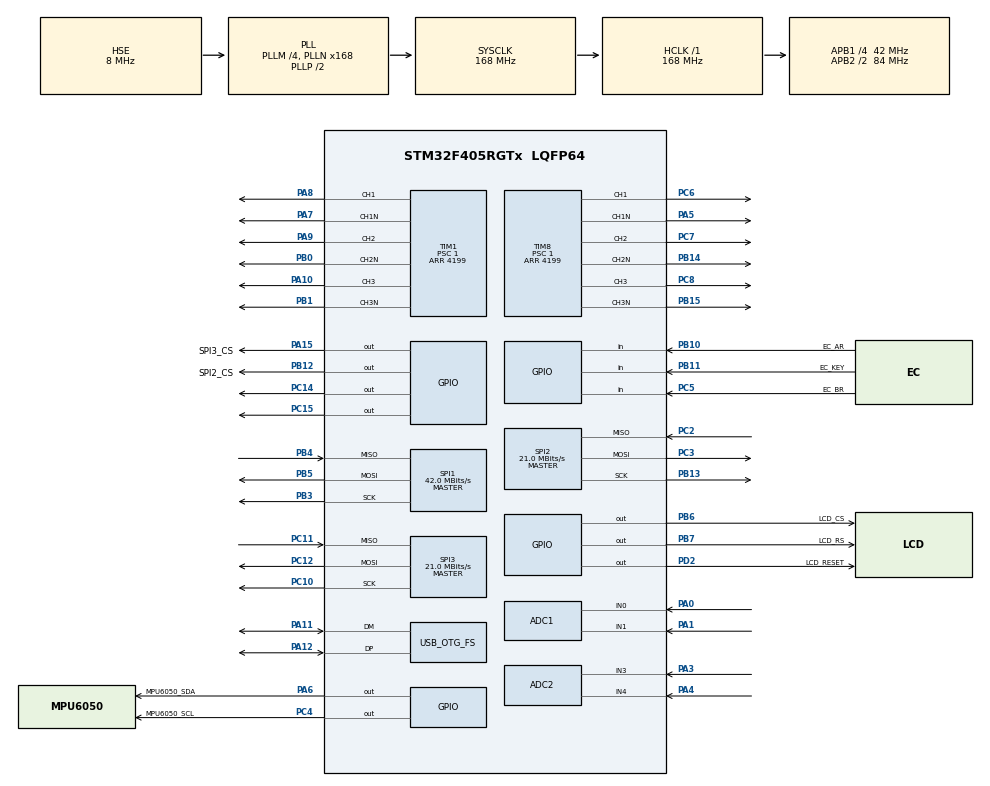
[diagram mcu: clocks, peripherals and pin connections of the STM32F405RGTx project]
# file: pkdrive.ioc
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ADC1.Channel-0\#ChannelRegularConversion=ADC_CHANNEL_0
ADC1.Channel-1\#ChannelInjectedConversion=ADC_CHANNEL_0
ADC1.Channel-2\#ChannelInjectedConversion=ADC_CHANNEL_1
ADC1.ExternalTrigInjecConv=ADC_EXTERNALTRIGINJECCONV_T1_CC4
ADC1.InjNumberOfConversion=2
ADC1.InjectedOffset-1\#ChannelInjectedConversion=0
ADC1.InjectedOffset-2\#ChannelInjectedConversion=0
ADC1.InjectedRank-1\#ChannelInjectedConversion=1
ADC1.InjectedRank-2\#ChannelInjectedConversion=2
ADC1.NbrOfConversionFlag=1
ADC1.Rank-0\#ChannelRegularConversion=1
ADC1.SamplingTime-0\#ChannelRegularConversion=ADC_SAMPLETIME_15CYCLES
ADC1.SamplingTime-1\#ChannelInjectedConversion=ADC_SAMPLETIME_15CYCLES
ADC1.SamplingTime-2\#ChannelInjectedConversion=ADC_SAMPLETIME_15CYCLES
ADC1.ScanConvMode=ENABLE
ADC1.master=1
ADC2.Channel-0\#ChannelRegularConversion=ADC_CHANNEL_3
ADC2.Channel-1\#ChannelInjectedConversion=ADC_CHANNEL_3
ADC2.Channel-2\#ChannelInjectedConversion=ADC_CHANNEL_4
ADC2.ExternalTrigInjecConv=ADC_EXTERNALTRIGINJECCONV_T8_CC4
ADC2.InjNumberOfConversion=2
ADC2.InjectedOffset-1\#ChannelInjectedConversion=0
ADC2.InjectedOffset-2\#ChannelInjectedConversion=0
ADC2.InjectedRank-1\#ChannelInjectedConversion=1
ADC2.InjectedRank-2\#ChannelInjectedConversion=2
ADC2.NbrOfConversionFlag=1
ADC2.Rank-0\#ChannelRegularConversion=1
ADC2.SamplingTime-0\#ChannelRegularConversion=ADC_SAMPLETIME_3CYCLES
ADC2.SamplingTime-1\#ChannelInjectedConversion=ADC_SAMPLETIME_15CYCLES
ADC2.SamplingTime-2\#ChannelInjectedConversion=ADC_SAMPLETIME_15CYCLES
Dma.Request0=SPI3_RX
Dma.Request1=SPI1_TX
Dma.SPI1_TX.1.Direction=DMA_MEMORY_TO_PERIPH
Dma.SPI1_TX.1.FIFOMode=DMA_FIFOMODE_DISABLE
Dma.SPI1_TX.1.Instance=DMA2_Stream3
Dma.SPI1_TX.1.MemDataAlignment=DMA_MDATAALIGN_BYTE
Dma.SPI1_TX.1.MemInc=DMA_MINC_ENABLE
Dma.SPI1_TX.1.Mode=DMA_NORMAL
Dma.SPI1_TX.1.PeriphDataAlignment=DMA_PDATAALIGN_BYTE
Dma.SPI1_TX.1.PeriphInc=DMA_PINC_DISABLE
Dma.SPI1_TX.1.Priority=DMA_PRIORITY_LOW
Dma.SPI3_RX.0.Direction=DMA_PERIPH_TO_MEMORY
Dma.SPI3_RX.0.FIFOMode=DMA_FIFOMODE_DISABLE
Dma.SPI3_RX.0.Instance=DMA1_Stream0
Dma.SPI3_RX.0.MemDataAlignment=DMA_MDATAALIGN_HALFWORD
Dma.SPI3_RX.0.MemInc=DMA_MINC_ENABLE
Dma.SPI3_RX.0.Mode=DMA_NORMAL
Dma.SPI3_RX.0.PeriphDataAlignment=DMA_PDATAALIGN_HALFWORD
Dma.SPI3_RX.0.PeriphInc=DMA_PINC_DISABLE
Dma.SPI3_RX.0.Priority=DMA_PRIORITY_LOW
FREERTOS.Queues01=Queue_ADC,1,uint32_t,0,Dynamic,NULL,NULL
FREERTOS.Tasks01=Task_comm,24,512,StartDefaultTask,Default,NULL,Static,defaultTaskBuffer,defaultTaskControlBlock;Task_foc,24,512,StartTask02,Default,NULL,Static,Task_focBuffer,Task_focControlBlock;Task_lcd,24,512,StartTask03,Default,NULL,Static,Task_ledBuffer,Task_ledControlBlock
FREERTOS.configENABLE_FPU=1
FREERTOS.configMINIMAL_STACK_SIZE=64
Mcu.Family=STM32F4
Mcu.Name=STM32F405RGTx
Mcu.Package=LQFP64
NVIC.ADC_IRQn=true\:5\:0\:false\:false\:true\:true\:true\:true\:true
NVIC.DMA1_Stream0_IRQn=true\:5\:0\:false\:false\:true\:true\:false\:true\:true
NVIC.DMA2_Stream3_IRQn=true\:5\:0\:false\:false\:true\:true\:false\:true\:true
NVIC.OTG_FS_IRQn=true\:5\:0\:false\:false\:true\:true\:false\:true\:true
NVIC.PriorityGroup=NVIC_PRIORITYGROUP_4
NVIC.TIM1_UP_TIM10_IRQn=true\:5\:0\:false\:false\:true\:true\:true\:true\:true
NVIC.TIM4_IRQn=true\:15\:0\:false\:false\:true\:false\:false\:true\:true
NVIC.TIM8_UP_TIM13_IRQn=true\:5\:0\:false\:false\:true\:true\:true\:true\:true
NVIC.TimeBase=TIM4_IRQn
NVIC.TimeBaseIP=TIM4
PA0-WKUP.Signal=ADCx_IN0
PA1.Signal=ADCx_IN1
PA10.Signal=S_TIM1_CH3
PA11.Mode=Device_Only
PA11.Signal=USB_OTG_FS_DM
PA12.Mode=Device_Only
PA12.Signal=USB_OTG_FS_DP
PA13.Mode=Serial_Wire
PA13.Signal=SYS_JTMS-SWDIO
PA14.Mode=Serial_Wire
PA14.Signal=SYS_JTCK-SWCLK
PA15.GPIO_Label=SPI3_CS
PA15.Signal=GPIO_Output
PA3.Signal=ADCx_IN3
PA4.Signal=ADCx_IN4
PA5.Mode=PWM Generation1 CH1 CH1N
PA5.Signal=TIM8_CH1N
PA6.GPIO_Label=MPU6050_SDA
PA6.GPIO_PuPd=GPIO_PULLUP
PA6.PinState=GPIO_PIN_SET
PA6.Signal=GPIO_Output
PA7.Mode=PWM Generation1 CH1 CH1N
PA7.Signal=TIM1_CH1N
PA8.Signal=S_TIM1_CH1
PA9.Signal=S_TIM1_CH2
PB0.Mode=PWM Generation2 CH2 CH2N
PB0.Signal=TIM1_CH2N
PB1.Mode=PWM Generation3 CH3 CH3N
PB1.Signal=TIM1_CH3N
PB10.GPIO_Label=EC_AR
PB10.Signal=GPIO_Input
PB11.GPIO_Label=EC_KEY
PB11.GPIO_PuPd=GPIO_PULLUP
PB11.Signal=GPIO_Input
PB12.GPIO_Label=SPI2_CS
PB12.Signal=GPIO_Output
PB13.Mode=Full_Duplex_Master
PB13.Signal=SPI2_SCK
PB14.Mode=PWM Generation2 CH2 CH2N
PB14.Signal=TIM8_CH2N
PB15.Mode=PWM Generation3 CH3 CH3N
PB15.Signal=TIM8_CH3N
PB3.Mode=Full_Duplex_Master
PB3.Signal=SPI1_SCK
PB4.Mode=Full_Duplex_Master
PB4.Signal=SPI1_MISO
PB5.Mode=Full_Duplex_Master
PB5.Signal=SPI1_MOSI
PB6.GPIO_Label=LCD_CS
PB6.GPIO_PuPd=GPIO_PULLUP
PB6.Signal=GPIO_Output
PB7.GPIO_Label=LCD_RS
PB7.Signal=GPIO_Output
PC10.Mode=Full_Duplex_Master
PC10.Signal=SPI3_SCK
PC11.Mode=Full_Duplex_Master
PC11.Signal=SPI3_MISO
PC12.Mode=Full_Duplex_Master
PC12.Signal=SPI3_MOSI
PC14-OSC32_IN.Signal=GPIO_Output
PC15-OSC32_OUT.Signal=GPIO_Output
PC2.Mode=Full_Duplex_Master
PC2.Signal=SPI2_MISO
PC3.Mode=Full_Duplex_Master
PC3.Signal=SPI2_MOSI
PC4.GPIO_Label=MPU6050_SCL
PC4.GPIO_PuPd=GPIO_PULLUP
PC4.PinState=GPIO_PIN_SET
PC4.Signal=GPIO_Output
PC5.GPIO_Label=EC_BR
PC5.Signal=GPIO_Input
PC6.Signal=S_TIM8_CH1
PC7.Signal=S_TIM8_CH2
PC8.Signal=S_TIM8_CH3
PD2.GPIO_Label=LCD_RESET
PD2.Signal=GPIO_Output
PH0-OSC_IN.Mode=HSE-External-Oscillator
PH0-OSC_IN.Signal=RCC_OSC_IN
PH1-OSC_OUT.Mode=HSE-External-Oscillator
PH1-OSC_OUT.Signal=RCC_OSC_OUT
ProjectManager.HeapSize=0x400
ProjectManager.StackSize=0x400
ProjectManager.TargetToolchain=CMake
RCC.48MHZClocksFreq_Value=48000000
RCC.AHBFreq_Value=168000000
RCC.APB1CLKDivider=RCC_HCLK_DIV4
RCC.APB1Freq_Value=42000000
RCC.APB1TimFreq_Value=84000000
RCC.APB2CLKDivider=RCC_HCLK_DIV2
RCC.APB2Freq_Value=84000000
RCC.APB2TimFreq_Value=168000000
RCC.CortexFreq_Value=168000000
RCC.HCLKFreq_Value=168000000
RCC.HSE_VALUE=8000000
RCC.HSI_VALUE=16000000
RCC.LSE_VALUE=32768
RCC.PLLM=4
RCC.PLLN=168
RCC.PLLQ=7
RCC.SYSCLKFreq_VALUE=168000000
RCC.SYSCLKSource=RCC_SYSCLKSOURCE_PLLCLK
RCC.VCOOutputFreq_Value=336000000
SH.ADCx_IN0.0=ADC1_IN0,IN0
SH.ADCx_IN1.0=ADC1_IN1,IN1
SH.ADCx_IN3.0=ADC2_IN3,IN3
SH.ADCx_IN4.0=ADC2_IN4,IN4
SH.S_TIM1_CH1.0=TIM1_CH1,PWM Generation1 CH1 CH1N
SH.S_TIM1_CH2.0=TIM1_CH2,PWM Generation2 CH2 CH2N
SH.S_TIM1_CH3.0=TIM1_CH3,PWM Generation3 CH3 CH3N
SH.S_TIM8_CH1.0=TIM8_CH1,PWM Generation1 CH1 CH1N
SH.S_TIM8_CH2.0=TIM8_CH2,PWM Generation2 CH2 CH2N
SH.S_TIM8_CH3.0=TIM8_CH3,PWM Generation3 CH3 CH3N
SPI1.CalculateBaudRate=42.0 MBits/s
SPI1.DataSize=SPI_DATASIZE_8BIT
SPI1.Direction=SPI_DIRECTION_2LINES
SPI1.Mode=SPI_MODE_MASTER
SPI1.VirtualType=VM_MASTER
SPI2.BaudRatePrescaler=SPI_BAUDRATEPRESCALER_2
SPI2.CLKPhase=SPI_PHASE_2EDGE
SPI2.CLKPolarity=SPI_POLARITY_HIGH
SPI2.CalculateBaudRate=21.0 MBits/s
SPI2.DataSize=SPI_DATASIZE_16BIT
SPI2.Direction=SPI_DIRECTION_2LINES
SPI2.Mode=SPI_MODE_MASTER
SPI2.VirtualType=VM_MASTER
SPI3.BaudRatePrescaler=SPI_BAUDRATEPRESCALER_2
SPI3.CLKPhase=SPI_PHASE_2EDGE
SPI3.CLKPolarity=SPI_POLARITY_HIGH
SPI3.CalculateBaudRate=21.0 MBits/s
SPI3.DataSize=SPI_DATASIZE_16BIT
SPI3.Direction=SPI_DIRECTION_2LINES
SPI3.Mode=SPI_MODE_MASTER
SPI3.VirtualType=VM_MASTER
TIM1.AutoReloadPreload=TIM_AUTORELOAD_PRELOAD_ENABLE
TIM1.Channel-PWM\ Generation1\ CH1\ CH1N=TIM_CHANNEL_1
TIM1.Channel-PWM\ Generation2\ CH2\ CH2N=TIM_CHANNEL_2
TIM1.Channel-PWM\ Generation3\ CH3\ CH3N=TIM_CHANNEL_3
TIM1.Channel-PWM\ Generation4\ No\ Output=TIM_CHANNEL_4
TIM1.CounterMode=TIM_COUNTERMODE_CENTERALIGNED1
TIM1.DeadTime=65
TIM1.Period=4199
TIM1.Prescaler=1
TIM1.Pulse-PWM\ Generation4\ No\ Output=4099
TIM10.AutoReloadPreload=TIM_AUTORELOAD_PRELOAD_ENABLE
TIM10.Period=199
TIM10.Prescaler=8399
TIM8.AutoReloadPreload=TIM_AUTORELOAD_PRELOAD_ENABLE
TIM8.Channel-PWM\ Generation1\ CH1\ CH1N=TIM_CHANNEL_1
TIM8.Channel-PWM\ Generation2\ CH2\ CH2N=TIM_CHANNEL_2
TIM8.Channel-PWM\ Generation3\ CH3\ CH3N=TIM_CHANNEL_3
TIM8.Channel-PWM\ Generation4\ No\ Output=TIM_CHANNEL_4
TIM8.CounterMode=TIM_COUNTERMODE_CENTERALIGNED1
TIM8.DeadTime=65
TIM8.Period=4199
TIM8.Prescaler=1
TIM8.Pulse-PWM\ Generation4\ No\ Output=4099
USB_DEVICE.CLASS_NAME_FS=CDC
USB_DEVICE.VirtualMode-CDC_FS=Cdc
USB_DEVICE.VirtualModeFS=Cdc_FS
USB_OTG_FS.VirtualMode=Device_Only
VP_FREERTOS_VS_CMSIS_V2.Mode=CMSIS_V2
VP_SYS_VS_tim4.Mode=TIM4
VP_TIM10_VS_ClockSourceINT.Mode=Enable_Timer
VP_TIM1_VS_ClockSourceINT.Mode=Internal
VP_TIM1_VS_no_output4.Mode=PWM Generation4 No Output
VP_TIM8_VS_ClockSourceINT.Mode=Internal
VP_TIM8_VS_no_output4.Mode=PWM Generation4 No Output
VP_USB_DEVICE_VS_USB_DEVICE_CDC_FS.Mode=CDC_FS
board=custom

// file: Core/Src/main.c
/* USER CODE BEGIN Header */
/**
 ******************************************************************************
 * @file           : main.c
 * @brief          : Main program body
 ******************************************************************************
 * @attention
 *
 * Copyright (c) 2025 STMicroelectronics.
 * All rights reserved.
 *
 * This software is licensed under terms that can be found in the LICENSE file
 * in the root directory of this software component.
 * If no LICENSE file comes with this software, it is provided AS-IS.
 *
 ******************************************************************************
 */
/* USER CODE END Header */
#include "main.h"
#include "cmsis_os.h"
#include "adc.h"
#include "dma.h"
#include "spi.h"
#include "tim.h"
#include "usb_device.h"
#include "gpio.h"

/* USER CODE BEGIN Includes */
#include "SEGGER_RTT.h"
#include "SEGGER_SYSVIEW.h"

/* USER CODE END Includes */

void SystemClock_Config(void);
void MX_FREERTOS_Init(void);
/* USER CODE BEGIN PFP */
void DWT_Init(void) {
  // 启用DWT计时器，首先要启用TPIU和ITM
  if (!(CoreDebug->DEMCR & CoreDebug_DEMCR_TRCENA_Msk)) {
    CoreDebug->DEMCR |= CoreDebug_DEMCR_TRCENA_Msk; // 启用追踪功能
  }

  if (!(DWT->CTRL & DWT_CTRL_CYCCNTENA_Msk)) {
    DWT->CTRL |= DWT_CTRL_CYCCNTENA_Msk; // 启用周期计数器
  }
}

/* USER CODE END PFP */

int main(void)
{

  /* MCU Configuration--------------------------------------------------------*/

  /* Reset of all peripherals, Initializes the Flash interface and the Systick. */
  HAL_Init();

  /* Configure the system clock */
  SystemClock_Config();

  /* USER CODE BEGIN SysInit */
  /* 库函数拉低PA11 PA12两个引脚 */
  GPIO_InitTypeDef GPIO_InitStruct = {0};
  GPIO_InitStruct.Pin = GPIO_PIN_12;
  GPIO_InitStruct.Mode = GPIO_MODE_OUTPUT_PP;
  GPIO_InitStruct.Pull = GPIO_PULLDOWN;
  GPIO_InitStruct.Speed = GPIO_SPEED_FREQ_LOW;
  HAL_GPIO_Init(GPIOA, &GPIO_InitStruct);
  HAL_GPIO_WritePin(GPIOA, GPIO_PIN_12,
                    GPIO_PIN_RESET); // DM,DP管脚拉低           // 延迟10ms
  HAL_Delay(10);
  HAL_GPIO_WritePin(GPIOA, GPIO_PIN_12,
                    GPIO_PIN_SET); // DM,DP管脚拉低           // 延迟10ms

  /* USER CODE END SysInit */

  /* Initialize all configured peripherals */
  MX_GPIO_Init();
  MX_DMA_Init();
  MX_SPI3_Init();
  MX_TIM1_Init();
  MX_ADC1_Init();
  MX_ADC2_Init();
  MX_SPI2_Init();
  MX_TIM8_Init();
  MX_SPI1_Init();
  MX_TIM10_Init();
  /* USER CODE BEGIN 2 */
  SEGGER_SYSVIEW_Conf();
  // pwmstart
  DWT_Init();
  HAL_TIM_Base_Start_IT(&htim10);

  /* USER CODE END 2 */

  /* Init scheduler */
  osKernelInitialize();

  /* Call init function for freertos objects (in cmsis_os2.c) */
  MX_FREERTOS_Init();

  /* Start scheduler */
  osKernelStart();

  /* We should never get here as control is now taken by the scheduler */

  /* Infinite loop */
  while (1) {

  }
}

void SystemClock_Config(void)
{
  RCC_OscInitTypeDef RCC_OscInitStruct = {0};
  RCC_ClkInitTypeDef RCC_ClkInitStruct = {0};

  /** Configure the main internal regulator output voltage
  */
  __HAL_RCC_PWR_CLK_ENABLE();
  __HAL_PWR_VOLTAGESCALING_CONFIG(PWR_REGULATOR_VOLTAGE_SCALE1);

  /** Initializes the RCC Oscillators according to the specified parameters
  * in the RCC_OscInitTypeDef structure.
  */
  RCC_OscInitStruct.OscillatorType = RCC_OSCILLATORTYPE_HSE;
  RCC_OscInitStruct.HSEState = RCC_HSE_ON;
  RCC_OscInitStruct.PLL.PLLState = RCC_PLL_ON;
  RCC_OscInitStruct.PLL.PLLSource = RCC_PLLSOURCE_HSE;
  RCC_OscInitStruct.PLL.PLLM = 4;
  RCC_OscInitStruct.PLL.PLLN = 168;
  RCC_OscInitStruct.PLL.PLLP = RCC_PLLP_DIV2;
  RCC_OscInitStruct.PLL.PLLQ = 7;
  if (HAL_RCC_OscConfig(&RCC_OscInitStruct) != HAL_OK)
  {
    Error_Handler();
  }

  /** Initializes the CPU, AHB and APB buses clocks
  */
  RCC_ClkInitStruct.ClockType = RCC_CLOCKTYPE_HCLK|RCC_CLOCKTYPE_SYSCLK
                              |RCC_CLOCKTYPE_PCLK1|RCC_CLOCKTYPE_PCLK2;
  RCC_ClkInitStruct.SYSCLKSource = RCC_SYSCLKSOURCE_PLLCLK;
  RCC_ClkInitStruct.AHBCLKDivider = RCC_SYSCLK_DIV1;
  RCC_ClkInitStruct.APB1CLKDivider = RCC_HCLK_DIV4;
  RCC_ClkInitStruct.APB2CLKDivider = RCC_HCLK_DIV2;

  if (HAL_RCC_ClockConfig(&RCC_ClkInitStruct, FLASH_LATENCY_5) != HAL_OK)
  {
    Error_Handler();
  }
}

void HAL_TIM_PeriodElapsedCallback(TIM_HandleTypeDef *htim)
{
  if (htim->Instance == TIM4) {
    HAL_IncTick();
  }
  /* USER CODE BEGIN Callback 1 */
  if (htim->Instance == TIM10) {
    HAL_IncTick();
  }
  /* USER CODE END Callback 1 */
}

void Error_Handler(void)
{
  /* USER CODE BEGIN Error_Handler_Debug */
  /* User can add his own implementation to report the HAL error return state
   */
  __disable_irq();
  while (1) {
  }
  /* USER CODE END Error_Handler_Debug */
}

#ifdef  USE_FULL_ASSERT
/**
  * @brief  Reports the name of the source file and the source line number
  *         where the assert_param error has occurred.
  * @param  file: pointer to the source file name
  * @param  line: assert_param error line source number
  * @retval None
  */
void assert_failed(uint8_t *file, uint32_t line)
{
  /* USER CODE BEGIN 6 */
  /* User can add his own implementation to report the file name and line
     number, ex: printf("Wrong parameters value: file %s on line %d\r\n",
     file, line) */
  /* USER CODE END 6 */
}
#endif /* USE_FULL_ASSERT */

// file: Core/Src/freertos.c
/* USER CODE BEGIN Header */
/**
 ******************************************************************************
 * File Name          : freertos.c
 * Description        : Code for freertos applications
 ******************************************************************************
 * @attention
 *
 * Copyright (c) 2025 STMicroelectronics.
 * All rights reserved.
 *
 * This software is licensed under terms that can be found in the LICENSE file
 * in the root directory of this software component.
 * If no LICENSE file comes with this software, it is provided AS-IS.
 *
 ******************************************************************************
 */
/* USER CODE END Header */

#include "FreeRTOS.h"
#include "task.h"
#include "main.h"
#include "cmsis_os.h"

/* USER CODE BEGIN Includes */

#include "common_inc.h"

/* USER CODE END Includes */

typedef StaticTask_t osStaticThreadDef_t;

/* Definitions for Task_comm */
osThreadId_t Task_commHandle;
uint32_t defaultTaskBuffer[ 512 ];
osStaticThreadDef_t defaultTaskControlBlock;
const osThreadAttr_t Task_comm_attributes = {
  .name = "Task_comm",
  .cb_mem = &defaultTaskControlBlock,
  .cb_size = sizeof(defaultTaskControlBlock),
  .stack_mem = &defaultTaskBuffer[0],
  .stack_size = sizeof(defaultTaskBuffer),
  .priority = (osPriority_t) osPriorityNormal,
};
/* Definitions for Task_foc */
osThreadId_t Task_focHandle;
uint32_t Task_focBuffer[ 512 ];
osStaticThreadDef_t Task_focControlBlock;
const osThreadAttr_t Task_foc_attributes = {
  .name = "Task_foc",
  .cb_mem = &Task_focControlBlock,
  .cb_size = sizeof(Task_focControlBlock),
  .stack_mem = &Task_focBuffer[0],
  .stack_size = sizeof(Task_focBuffer),
  .priority = (osPriority_t) osPriorityNormal,
};
/* Definitions for Task_lcd */
osThreadId_t Task_lcdHandle;
uint32_t Task_ledBuffer[ 512 ];
osStaticThreadDef_t Task_ledControlBlock;
const osThreadAttr_t Task_lcd_attributes = {
  .name = "Task_lcd",
  .cb_mem = &Task_ledControlBlock,
  .cb_size = sizeof(Task_ledControlBlock),
  .stack_mem = &Task_ledBuffer[0],
  .stack_size = sizeof(Task_ledBuffer),
  .priority = (osPriority_t) osPriorityNormal,
};
/* Definitions for Queue_ADC */
osMessageQueueId_t Queue_ADCHandle;
const osMessageQueueAttr_t Queue_ADC_attributes = {
  .name = "Queue_ADC"
};

/* USER CODE BEGIN FunctionPrototypes */
QueueHandle_t xFocQueue;

/* USER CODE END FunctionPrototypes */

void StartDefaultTask(void *argument);
void StartTask02(void *argument);
void StartTask03(void *argument);

extern void MX_USB_DEVICE_Init(void);
void MX_FREERTOS_Init(void); /* (MISRA C 2004 rule 8.1) */

void MX_FREERTOS_Init(void) {

  /* Create the queue(s) */
  /* creation of Queue_ADC */
  Queue_ADCHandle = osMessageQueueNew (1, sizeof(uint32_t), &Queue_ADC_attributes);

  /* USER CODE BEGIN RTOS_QUEUES */
  /* add queues, ... */
  xFocQueue = xQueueCreate(10, sizeof(FocMsg_t));
  /* USER CODE END RTOS_QUEUES */

  /* Create the thread(s) */
  /* creation of Task_comm */
  Task_commHandle = osThreadNew(StartDefaultTask, NULL, &Task_comm_attributes);

  /* creation of Task_foc */
  Task_focHandle = osThreadNew(StartTask02, NULL, &Task_foc_attributes);

  /* creation of Task_lcd */
  Task_lcdHandle = osThreadNew(StartTask03, NULL, &Task_lcd_attributes);

}

void StartDefaultTask(void *argument)
{
  /* init code for USB_DEVICE */
  MX_USB_DEVICE_Init();
  /* USER CODE BEGIN StartDefaultTask */

  /* Infinite loop */
  for (;;) {
    // 通信线程
    comm_task();
  }
  /* USER CODE END StartDefaultTask */
}

/* USER CODE BEGIN Header_StartTask02 */
/* *
 * @brief Function implementing the Task_foc thread.
 * @param argument: Not used
 * @retval None
 */

/* USER CODE END Header_StartTask02 */
void StartTask02(void *argument)
{
  /* USER CODE BEGIN StartTask02 */

  /* Infinite loop */
  for (;;) {
    // FOC线程
    foc_task();
  }
  /* USER CODE END StartTask02 */
}

void StartTask03(void *argument)
{
  /* USER CODE BEGIN StartTask03 */

  /* Infinite loop */
  for (;;) {
    lcd_task();
  }
  /* USER CODE END StartTask03 */
}
